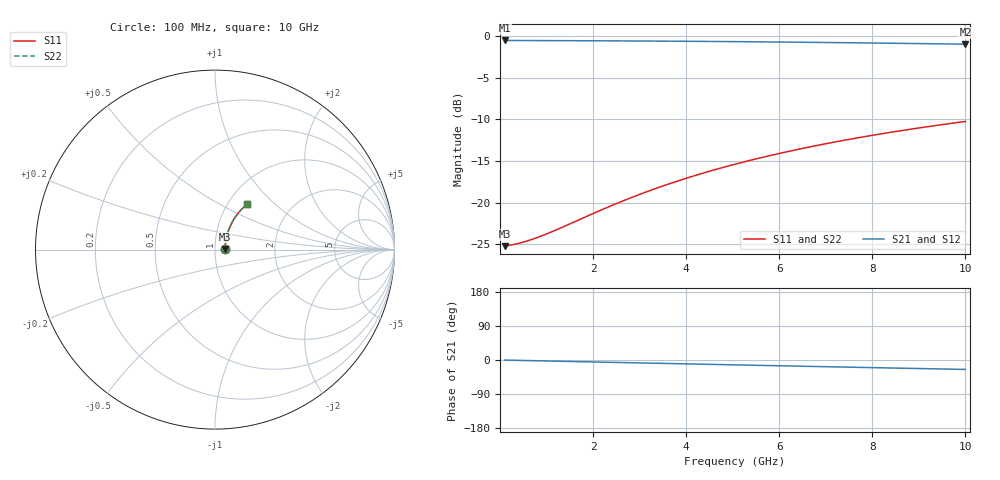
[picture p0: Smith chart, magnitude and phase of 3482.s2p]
# Hz S RI R 50.00
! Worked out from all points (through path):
!   100 points, 100 MHz to 10 GHz, reference 50 ohm
!   highest |S21| = -0.49 dB at 100 MHz (marker M1); lowest = -0.9 dB at 10 GHz (marker M2)
!   group delay of S21, straight-line fit = 6.92 ps
!   lowest |S11| = -25.2 dB at 100 MHz (marker M3), VSWR 1.12, Z = 55.8 + j0.335 ohm
!   |S11| at or under -10 dB: start of sweep to end of sweep
!   |S22| runs from -25.2 to -10.2 dB; largest |S21 - S12| = 0
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1e8  0.0546 0.003  0.9454 -0.00425  0.9454 -0.00425  0.0546 0.003
4e8  0.0556 0.012  0.9444 -0.017  0.9444 -0.017  0.0556 0.012
6e8  0.0561 0.0179  0.9438 -0.0254  0.9438 -0.0254  0.0561 0.0179
8e8  0.0568 0.0239  0.9432 -0.0339  0.9432 -0.0339  0.0568 0.0239
1e9  0.0575 0.0298  0.9424 -0.0423  0.9424 -0.0423  0.0575 0.0298
1.2e9  0.0582 0.0357  0.9416 -0.0508  0.9416 -0.0508  0.0582 0.0357
1.8e9  0.0611 0.0533  0.9386 -0.0759  0.9386 -0.0759  0.0611 0.0533
2.2e9  0.0635 0.065  0.9361 -0.0926  0.9361 -0.0926  0.0635 0.065
2.6e9  0.0662 0.0765  0.9332 -0.1091  0.9332 -0.1091  0.0662 0.0765
3e9  0.0693 0.0879  0.9299 -0.1256  0.9299 -0.1256  0.0693 0.0879
3.4e9  0.0728 0.0991  0.9262 -0.1418  0.9262 -0.1418  0.0728 0.0991
3.8e9  0.0767 0.1102  0.9221 -0.1579  0.9221 -0.1579  0.0767 0.1102
4.2e9  0.081 0.1211  0.9175 -0.1739  0.9175 -0.1739  0.081 0.1211
4.6e9  0.0856 0.1318  0.9126 -0.1896  0.9126 -0.1896  0.0856 0.1318
5.1e9  0.0919 0.1449  0.906 -0.209  0.906 -0.209  0.0919 0.1449
5.5e9  0.0973 0.1551  0.9002 -0.2243  0.9002 -0.2243  0.0973 0.1551
5.9e9  0.103 0.1651  0.8941 -0.2393  0.8941 -0.2393  0.103 0.1651
6.7e9  0.1153 0.1843  0.8809 -0.2687  0.8809 -0.2687  0.1153 0.1843
7.5e9  0.1289 0.2025  0.8665 -0.2969  0.8665 -0.2969  0.1289 0.2025
8.4e9  0.1453 0.2215  0.8489 -0.3273  0.8489 -0.3273  0.1453 0.2215
9.2e9  0.1609 0.2371  0.8321 -0.3531  0.8321 -0.3531  0.1609 0.2371
1e10  0.1772 0.2514  0.8145 -0.3776  0.8145 -0.3776  0.1772 0.2514
